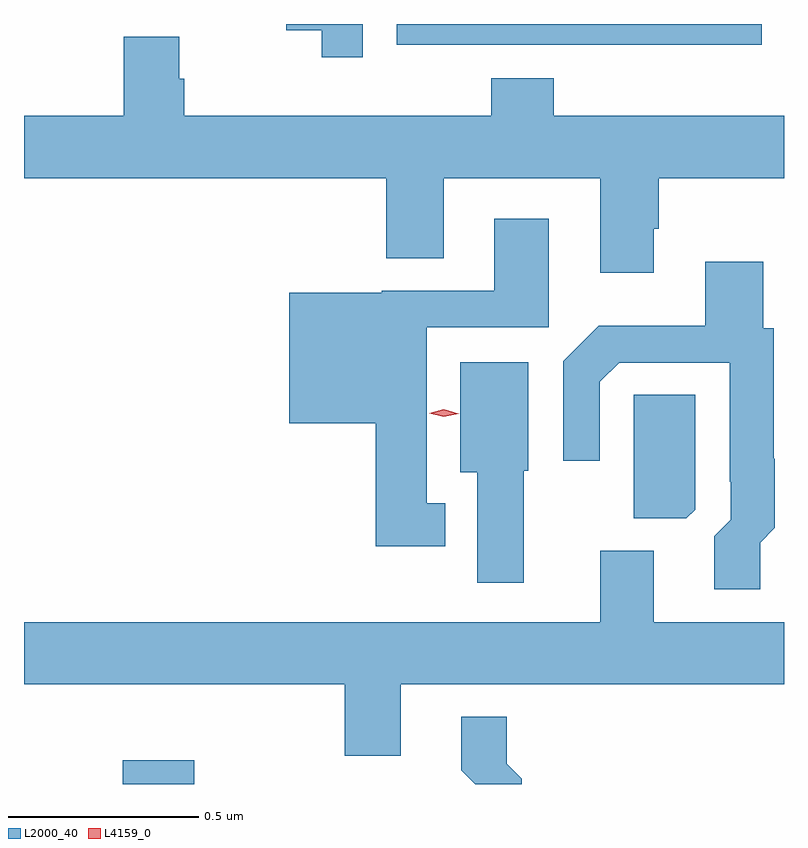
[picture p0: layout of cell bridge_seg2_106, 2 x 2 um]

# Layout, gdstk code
import gdstk
lib = gdstk.Library(unit=1e-6, precision=1e-09)
def R(c, l, rs):  # rectangles x0, y0, x1, y1
    for r in rs: c.add(gdstk.rectangle(r[:2], r[2:], *l))
def P(c, l, *ps):  # polygons
    for p in ps: c.add(gdstk.Polygon(p, *l))
L2000_40 = (2000, 40)
L4159_0 = (4159, 0)

bridge_seg2_106 = lib.new_cell('bridge_seg2_106')
R(bridge_seg2_106, L2000_40, [(561.176,616.738,561.364,616.801)])
P(bridge_seg2_106, L2000_40, [(561.807,618.738),(561.606,618.738),(561.606,618.721),(561.699,618.721),(561.699,618.651),(561.807,618.651)],
  [(562.857,618.738),(561.897,618.738),(561.897,618.684),(562.393,618.684),(562.393,618.683),(562.857,618.683)],
  [(562.573,618.199),(562.586,618.199),(562.586,618.332),(562.916,618.332),(562.916,618.496),(562.31,618.496),(562.31,618.595),(562.145,618.595),(562.145,618.496),(561.338,618.496),(561.338,618.594),(561.325,618.594),(561.325,618.704),(561.178,618.704),(561.178,618.496),(560.916,618.496),(560.916,618.332),(561.869,618.332),(561.869,618.121),(562.021,618.121),(562.021,618.332),(562.433,618.332),(562.433,618.084),(562.573,618.084)],
  [(562.024,617.477),(561.976,617.477),(561.976,617.94),(562.297,617.94),(562.297,618.226),(562.154,618.226),(562.154,618.036),(561.858,618.036),(561.858,618.031),(561.614,618.031),(561.614,617.687),(561.842,617.687),(561.842,617.364),(562.024,617.364)],
  [(562.853,617.373),(562.892,617.412),(562.892,617.594),(562.889,617.594),(562.889,617.937),(562.862,617.937),(562.862,618.112),(562.709,618.112),(562.709,617.944),(562.429,617.944),(562.335,617.85),(562.335,617.589),(562.431,617.589),(562.431,617.796),(562.482,617.847),(562.773,617.847),(562.773,617.533),(562.776,617.533),(562.776,617.433),(562.733,617.39),(562.733,617.25),(562.853,617.25)],
  [(562.231,617.562),(562.243,617.562),(562.243,617.848),(562.064,617.848),(562.064,617.558),(562.109,617.558),(562.109,617.268),(562.231,617.268)],
  [(562.683,617.46),(562.683,617.762),(562.521,617.762),(562.521,617.651),(562.52,617.651),(562.52,617.437),(562.659,617.437)],
  [(561.907,617),(562.916,617),(562.916,617.164),(562.573,617.164),(562.573,617.352),(562.433,617.352),(562.433,617.164),(560.916,617.164),(560.916,617),(561.76,617),(561.76,616.813),(561.907,616.813)],
  [(562.226,616.752),(562.187,616.791),(562.187,616.915),(562.067,616.915),(562.067,616.774),(562.103,616.738),(562.226,616.738)])
P(bridge_seg2_106, L4159_0, [(562.021,617.704),(561.982,617.714),(561.982,617.714),(561.982,617.714),(562.021,617.724),(562.06,617.713),(562.06,617.713),(562.06,617.713)])

lib.write_gds('bridge_seg2_106.gds')
